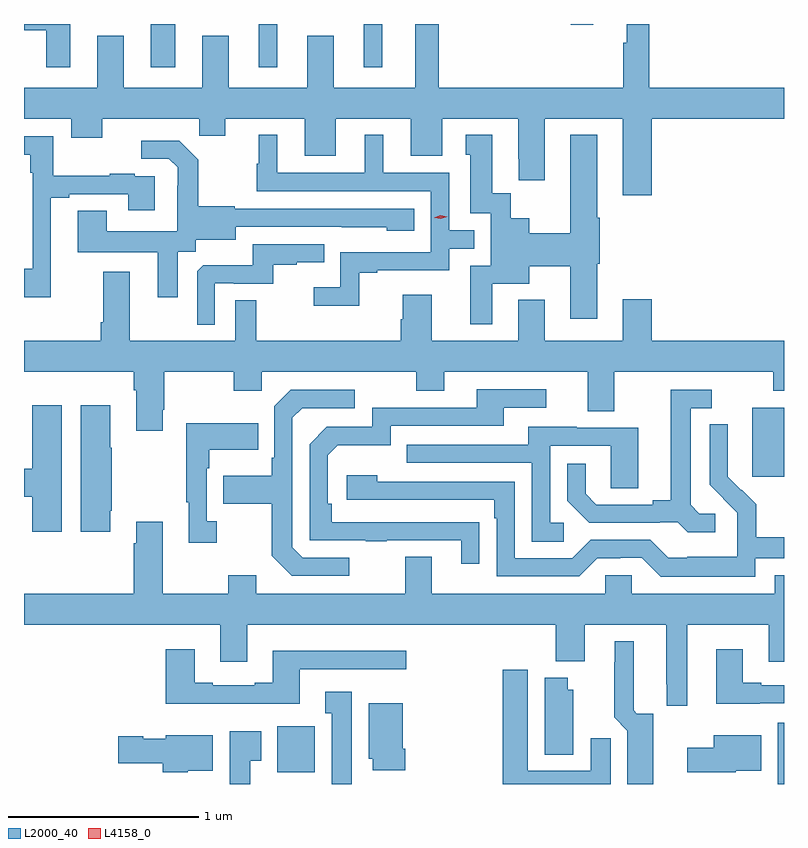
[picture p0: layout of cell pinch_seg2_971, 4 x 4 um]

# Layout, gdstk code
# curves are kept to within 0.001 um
import gdstk
lib = gdstk.Library(unit=1e-6, precision=1e-09)
def R(c, l, rs):  # rectangles x0, y0, x1, y1
    for r in rs: c.add(gdstk.rectangle(r[:2], r[2:], *l))
def P(c, l, *ps):  # polygons
    for p in ps: c.add(gdstk.Polygon(p, *l))
L2000_40 = (2000, 40)
L4158_0 = (4158, 0)

pinch_seg2_971 = lib.new_cell('pinch_seg2_971')
R(pinch_seg2_971, L2000_40, [(175.247,649.463,175.279,649.786), (172.613,649.526,172.81,649.768), (175.112,651.081,175.279,651.442), (171.947,653.235,172.075,653.463), (172.514,653.235,172.612,653.463), (173.066,653.235,173.164,653.463), (174.157,653.46,174.275,653.463)])
P(pinch_seg2_971, L2000_40, [(171.523,653.463),(171.279,653.463),(171.279,653.43),(171.395,653.43),(171.395,653.235),(171.523,653.235)],
  [(174.584,652.964),(175.279,652.964),(175.279,653.128),(174.569,653.128),(174.569,653.463),(174.452,653.463),(174.452,653.364),(174.433,653.364),(174.433,653.128),(173.461,653.128),(173.461,653.463),(173.339,653.463),(173.339,653.128),(172.909,653.128),(172.909,653.401),(172.769,653.401),(172.769,653.128),(172.357,653.128),(172.357,653.401),(172.217,653.401),(172.217,653.128),(171.805,653.128),(171.805,653.401),(171.665,653.401),(171.665,653.128),(171.279,653.128),(171.279,652.964),(171.527,652.964),(171.527,652.865),(171.691,652.865),(171.691,652.964),(172.201,652.964),(172.201,652.874),(172.339,652.874),(172.339,652.964),(172.757,652.964),(172.757,652.77),(172.921,652.77),(172.921,652.964),(173.315,652.964),(173.315,652.77),(173.479,652.77),(173.479,652.964),(173.879,652.964),(173.879,652.753),(173.882,652.753),(173.882,652.641),(174.019,652.641),(174.019,652.964),(174.431,652.964),(174.431,652.563),(174.584,652.563)],
  [(173.043,652.155),(173.137,652.155),(173.137,652.167),(173.517,652.167),(173.517,652.281),(173.65,652.281),(173.65,652.377),(173.517,652.377),(173.517,652.68),(173.17,652.68),(173.17,652.879),(173.072,652.879),(173.072,652.68),(172.612,652.68),(172.612,652.879),(172.514,652.879),(172.514,652.728),(172.503,652.728),(172.503,652.584),(173.421,652.584),(173.421,652.263),(172.944,652.263),(172.944,652.078),(172.803,652.078),(172.803,651.98),(173.043,651.98)],
  [(173.743,652.097),(173.938,652.097),(173.938,652.189),(174.155,652.189),(174.155,651.912),(174.295,651.912),(174.295,652.2),(174.308,652.2),(174.308,652.444),(174.295,652.444),(174.295,652.879),(174.155,652.879),(174.155,652.361),(173.938,652.361),(173.938,652.441),(173.841,652.441),(173.841,652.571),(173.743,652.571),(173.743,652.879),(173.603,652.879),(173.603,652.776),(173.627,652.776),(173.627,652.467),(173.736,652.467),(173.736,652.191),(173.627,652.191),(173.627,651.882),(173.743,651.882)],
  [(171.421,652.548),(171.517,652.548),(171.517,652.566),(171.827,652.566),(171.827,652.482),(171.967,652.482),(171.967,652.662),(171.863,652.662),(171.863,652.675),(171.731,652.675),(171.731,652.664),(171.433,652.664),(171.433,652.872),(171.279,652.872),(171.279,652.775),(171.312,652.775),(171.312,652.679),(171.324,652.679),(171.324,652.174),(171.279,652.174),(171.279,652.026),(171.421,652.026)],
  [(172.087,652.264),(172.182,652.264),(172.182,652.328),(172.393,652.328),(172.393,652.395),(173.187,652.394),(173.187,652.376),(173.332,652.376),(173.332,652.491),(172.389,652.491),(172.389,652.504),(172.197,652.504),(172.197,652.749),(172.097,652.849),(171.897,652.849),(171.897,652.755),(172.041,652.755),(172.088,652.708),(172.088,652.613),(172.086,652.613),(172.086,652.372),(171.715,652.372),(171.715,652.481),(171.563,652.481),(171.563,652.262),(171.983,652.262),(171.983,652.026),(172.087,652.026)],
  [(172.284,652.098),(172.384,652.098),(172.384,652.095),(172.592,652.095),(172.592,652.197),(172.715,652.197),(172.715,652.208),(172.859,652.208),(172.859,652.305),(172.482,652.305),(172.482,652.193),(172.223,652.193),(172.191,652.161),(172.191,651.881),(172.284,651.881)],
  [(172.009,651.433),(172.017,651.433),(172.017,651.632),(172.384,651.632),(172.384,651.533),(172.53,651.533),(172.53,651.632),(173.344,651.632),(173.344,651.533),(173.491,651.533),(173.491,651.632),(174.245,651.632),(174.245,651.424),(174.385,651.424),(174.385,651.632),(175.222,651.632),(175.222,651.533),(175.279,651.533),(175.279,651.796),(174.584,651.796),(174.584,652.015),(174.431,652.015),(174.431,651.796),(174.019,651.796),(174.019,652.012),(173.879,652.012),(173.879,651.796),(173.425,651.796),(173.425,652.039),(173.273,652.039),(173.273,651.909),(173.261,651.909),(173.261,651.796),(172.501,651.796),(172.501,652.01),(172.392,652.01),(172.392,651.796),(171.835,651.796),(171.835,652.159),(171.695,652.159),(171.695,651.892),(171.683,651.892),(171.683,651.796),(171.279,651.796),(171.279,651.632),(171.857,651.632),(171.857,651.536),(171.869,651.536),(171.869,651.321),(172.009,651.321)],
  [(173.675,650.84),(172.898,650.841),(172.898,650.938),(172.878,650.938),(172.878,651.192),(172.931,651.245),(173.208,651.245),(173.208,651.348),(173.803,651.348),(173.803,651.444),(174.028,651.444),(174.028,651.54),(173.663,651.54),(173.663,651.444),(173.112,651.444),(173.112,651.342),(172.872,651.342),(172.782,651.252),(172.782,650.745),(173.077,650.745),(173.077,650.74),(173.189,650.74),(173.189,650.745),(173.579,650.745),(173.579,650.622),(173.675,650.622)],
  [(174.916,650.886),(174.834,650.886),(174.787,650.933),(174.787,651.441),(174.898,651.441),(174.898,651.537),(174.683,651.537),(174.683,650.957),(174.587,650.957),(174.587,650.934),(174.292,650.934),(174.235,650.991),(174.235,651.148),(174.138,651.148),(174.138,650.954),(174.254,650.838),(174.626,650.838),(174.626,650.841),(174.72,650.841),(174.772,650.789),(174.916,650.789)],
  [(172.99,650.655),(172.746,650.655),(172.692,650.709),(172.692,651.39),(172.743,651.441),(173.02,651.441),(173.02,651.537),(172.683,651.537),(172.596,651.45),(172.596,651.181),(172.584,651.181),(172.584,651.085),(172.327,651.085),(172.327,650.938),(172.584,650.938),(172.584,650.665),(172.689,650.559),(172.99,650.559)],
  [(171.478,651.457),(171.323,651.457),(171.323,651.122),(171.279,651.122),(171.279,650.975),(171.323,650.975),(171.323,650.79),(171.478,650.79)],
  [(171.733,650.902),(171.741,650.902),(171.741,651.233),(171.733,651.233),(171.733,651.457),(171.578,651.457),(171.578,650.79),(171.733,650.79)],
  [(172.294,650.846),(172.242,650.846),(172.242,651.125),(172.255,651.125),(172.255,651.221),(172.511,651.221),(172.511,651.361),(172.134,651.361),(172.134,650.945),(172.145,650.945),(172.145,650.733),(172.294,650.733)],
  [(175.128,650.652),(175.279,650.652),(175.279,650.761),(175.133,650.761),(175.133,650.935),(175.056,651.012),(175.053,651.009),(174.983,651.08),(174.984,651.356),(174.888,651.356),(174.888,651.038),(175.034,650.89),(175.034,650.793),(175.032,650.793),(175.032,650.659),(174.769,650.659),(174.769,650.655),(174.669,650.655),(174.576,650.748),(174.261,650.748),(174.165,650.652),(173.862,650.652),(173.862,651.054),(173.138,651.054),(173.138,651.088),(172.977,651.088),(172.977,650.958),(173.753,650.958),(173.753,650.861),(173.766,650.861),(173.766,650.556),(174.201,650.556),(174.297,650.652),(174.416,650.652),(174.416,650.655),(174.531,650.655),(174.631,650.555),(175.128,650.555)],
  [(174.121,650.838),(174.048,650.838),(174.048,651.243),(174.366,651.243),(174.366,651.019),(174.511,651.019),(174.511,651.339),(174.187,651.339),(174.187,651.343),(173.933,651.343),(173.933,651.249),(173.293,651.249),(173.293,651.153),(173.952,651.153),(173.952,650.737),(174.121,650.737)],
  [(174.769,650.3),(175.199,650.3),(175.199,650.106),(175.279,650.106),(175.279,650.563),(175.229,650.563),(175.229,650.464),(174.477,650.464),(174.477,650.562),(174.339,650.562),(174.339,650.464),(173.425,650.464),(173.425,650.659),(173.285,650.659),(173.285,650.464),(172.501,650.464),(172.501,650.563),(172.354,650.563),(172.354,650.464),(172.009,650.464),(172.009,650.842),(171.869,650.842),(171.869,650.729),(171.857,650.729),(171.857,650.464),(171.279,650.464),(171.279,650.3),(172.313,650.3),(172.313,650.106),(172.453,650.106),(172.453,650.3),(174.077,650.3),(174.077,650.108),(174.229,650.108),(174.229,650.3),(174.659,650.3),(174.659,649.987),(174.663,649.987),(174.663,649.875),(174.769,649.875)],
  [(174.592,649.833),(174.504,649.833),(174.487,649.851),(174.487,650.215),(174.389,650.215),(174.389,650.105),(174.385,650.105),(174.385,649.814),(174.455,649.744),(174.455,649.463),(174.592,649.463)],
  [(175.151,649.887),(175.279,649.887),(175.279,649.983),(175.159,649.983),(175.159,649.996),(175.063,649.996),(175.063,650.173),(174.923,650.173),(174.923,649.886),(175.151,649.886)],
  [(172.729,650.067),(173.29,650.067),(173.29,650.164),(172.589,650.164),(172.589,649.996),(172.493,649.996),(172.493,649.983),(172.273,649.983),(172.273,649.996),(172.177,649.996),(172.177,650.173),(172.025,650.173),(172.025,649.886),(172.729,649.886)],
  [(174.367,649.705),(174.263,649.705),(174.263,649.533),(173.929,649.533),(173.929,650.065),(173.798,650.065),(173.798,649.463),(174.367,649.463)],
  [(174.169,649.959),(174.142,649.959),(174.142,650.023),(174.02,650.023),(174.02,649.618),(174.169,649.618)],
  [(173.005,649.948),(172.865,649.948),(172.865,649.835),(172.898,649.835),(172.898,649.463),(173.005,649.463)],
  [(173.285,649.648),(173.272,649.648),(173.272,649.888),(173.093,649.888),(173.093,649.596),(173.114,649.596),(173.114,649.536),(173.285,649.536)],
  [(172.471,649.585),(172.528,649.585),(172.528,649.741),(172.361,649.741),(172.361,649.463),(172.471,649.463)],
  [(172.14,649.532),(172.273,649.532),(172.273,649.72),(172.026,649.72),(172.026,649.702),(171.906,649.702),(171.906,649.715),(171.774,649.715),(171.774,649.573),(172.01,649.573),(172.01,649.526),(172.14,649.526)],
  [(175.026,649.532),(175.159,649.532),(175.159,649.72),(174.908,649.72),(174.908,649.654),(174.771,649.654),(174.771,649.526),(175.026,649.526)])
P(pinch_seg2_971, L4158_0, [(173.472,652.437),(173.437,652.444),(173.437,652.444),(173.437,652.444),(173.47,652.457),(173.506,652.449),(173.506,652.449),(173.506,652.449)])

lib.write_gds('pinch_seg2_971.gds')
